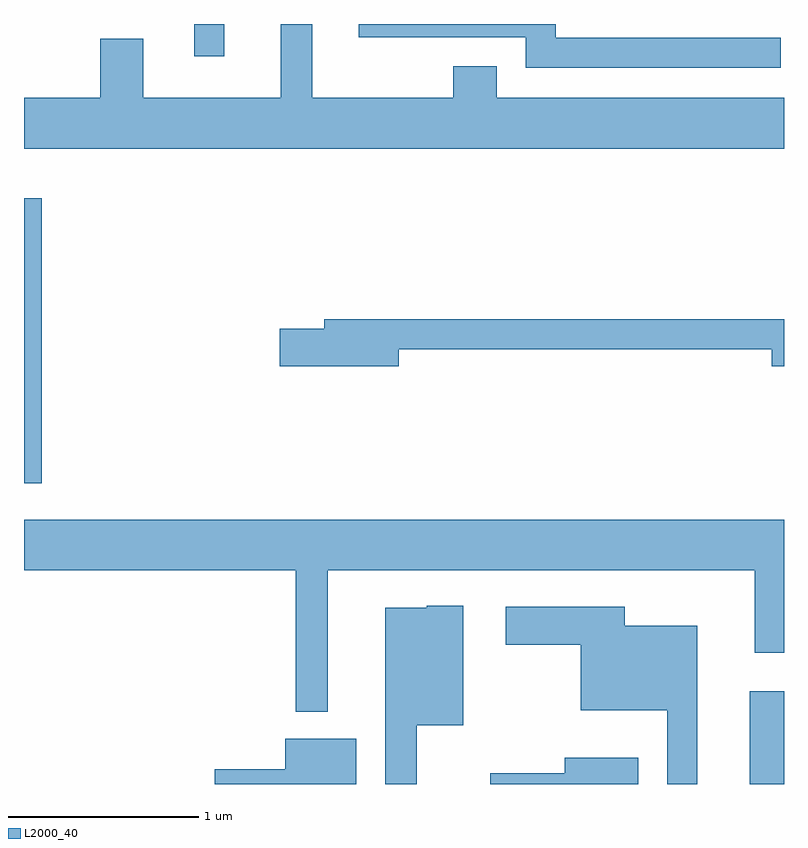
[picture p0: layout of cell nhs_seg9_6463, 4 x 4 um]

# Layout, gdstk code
import gdstk
lib = gdstk.Library(unit=1e-6, precision=1e-09)
def R(c, l, rs):  # rectangles x0, y0, x1, y1
    for r in rs: c.add(gdstk.rectangle(r[:2], r[2:], *l))
def P(c, l, *ps):  # polygons
    for p in ps: c.add(gdstk.Polygon(p, *l))
L2000_40 = (2000, 40)

nhs_seg9_6463 = lib.new_cell('nhs_seg9_6463')
R(nhs_seg9_6463, L2000_40, [(379.431,2028.432,379.611,2028.919), (375.611,2030.016,375.704,2031.514), (376.506,2032.263,376.664,2032.432)])
P(nhs_seg9_6463, L2000_40, [(379.611,2032.044),(378.099,2032.044),(378.099,2032.209),(377.871,2032.209),(377.871,2032.044),(377.129,2032.044),(377.129,2032.432),(376.961,2032.432),(376.961,2032.044),(376.239,2032.044),(376.239,2032.354),(376.011,2032.354),(376.011,2032.044),(375.611,2032.044),(375.611,2031.776),(379.611,2031.776)],
  [(379.593,2032.359),(378.409,2032.359),(378.409,2032.432),(377.373,2032.432),(377.373,2032.361),(378.251,2032.361),(378.251,2032.201),(379.593,2032.201)],
  [(377.584,2030.721),(379.546,2030.721),(379.546,2030.631),(379.611,2030.631),(379.611,2030.879),(377.191,2030.879),(377.191,2030.829),(376.956,2030.829),(376.956,2030.631),(377.584,2030.631)],
  [(377.209,2029.556),(379.456,2029.556),(379.456,2029.123),(379.611,2029.123),(379.611,2029.824),(375.611,2029.824),(375.611,2029.556),(377.041,2029.556),(377.041,2028.813),(377.209,2028.813)],
  [(377.679,2028.741),(377.924,2028.741),(377.924,2029.369),(377.73,2029.369),(377.73,2029.359),(377.511,2029.359),(377.511,2028.432),(377.679,2028.432)],
  [(379.154,2029.264),(378.774,2029.264),(378.774,2029.364),(378.146,2029.364),(378.146,2029.166),(378.541,2029.166),(378.541,2028.821),(378.996,2028.821),(378.996,2028.432),(379.154,2028.432)],
  [(377.359,2028.669),(376.986,2028.669),(376.986,2028.509),(376.616,2028.509),(376.616,2028.432),(377.359,2028.432)],
  [(378.844,2028.569),(378.456,2028.569),(378.456,2028.489),(378.066,2028.489),(378.066,2028.432),(378.844,2028.432)])

lib.write_gds('nhs_seg9_6463.gds')
